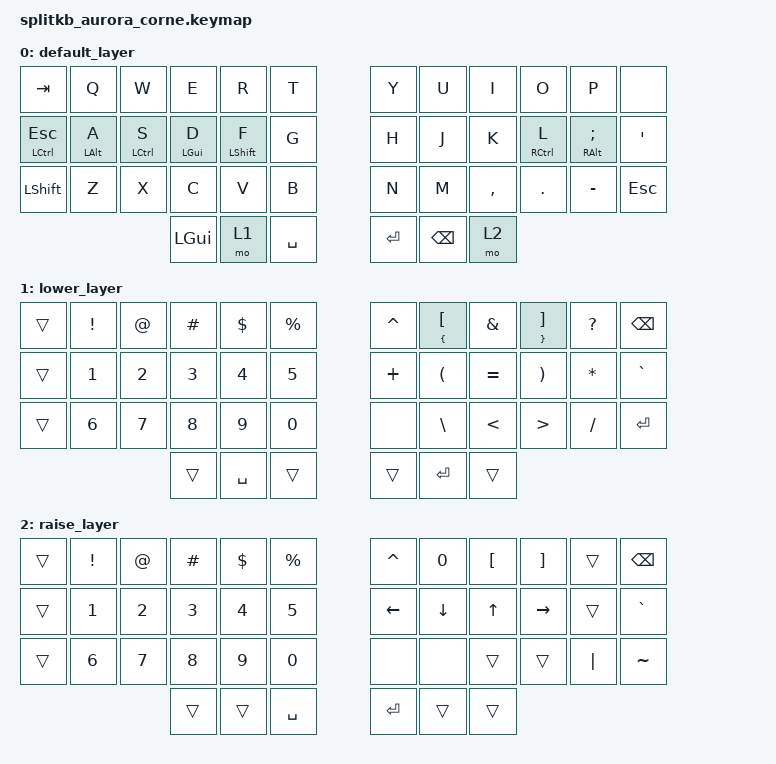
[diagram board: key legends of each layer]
/*
 * Copyright (c) 2020 The ZMK Contributors
 *
 * SPDX-License-Identifier: MIT
 */

#include <behaviors.dtsi>
#include <dt-bindings/zmk/keys.h>

/ {
    behaviors {
        homerow_mods_left: homerow_mods_left {
            compatible = "zmk,behavior-hold-tap";
            label = "HOMEROW_MODS_LEFT";
            bindings =
                <&kp>,
                <&kp>;

            #binding-cells = <2>;
            tapping-term-ms = <200>;
            flavor = "balanced";
            hold-trigger-key-positions = <6 7 8 9 10 11 18 19 20 21 22 23 30 31 32 33 34 35 39 40 41>;
            quick-tap-ms = <100>;
            hold-trigger-on-release;
            global-quick-tap;
        };
        hrm_right: hrm_right {
            compatible = "zmk,behavior-hold-tap";
            label = "HRM_RIGHT";
            bindings =
                <&kp>,
                <&kp>;

            #binding-cells = <2>;
            tapping-term-ms = <200>;
            quick-tap-ms = <100>;
            global-quick-tap;
            flavor = "balanced";
            hold-trigger-on-release;
            hold-trigger-key-positions = <0 1 2 3 4 5 12 13 14 15 16 17 24 25 26 27 28 29 36 37 38>;
        };
    };

    combos {
        compatible = "zmk,combos";

        tab_combo {
            bindings = <&kp TAB>;
            key-positions = <15 16>;
        };
    };

    keymap {
        compatible = "zmk,keymap";

        default_layer {
            // -----------------------------------------------------------------------------------------
            // |  TAB |  Q  |  W  |  E  |  R  |  T  |   |  Y  |  U   |  I  |  O  |  P  | BKSP |
            // | CTRL |  A  |  S  |  D  |  F  |  G  |   |  H  |  J   |  K  |  L  |  ;  |  '   |
            //   ESC
            // | SHFT |  Z  |  X  |  C  |  V  |  B  |   |  N  |  M   |  ,  |  .  |  /  | ESC  |
            //                    | GUI | SPC | LWR |   | RSE | ENT  | ALT |

            bindings = <
      &kp TAB                          &kp Q                              &kp W                          &kp E                            &kp R      &kp T        &kp Y          &kp U      &kp I                       &kp O                           &kp P    &none
&mt LCTRL ESC  &homerow_mods_left LEFT_ALT A  &homerow_mods_left LEFT_CONTROL S  &homerow_mods_left LEFT_GUI D  &homerow_mods_left LEFT_SHIFT F      &kp G        &kp H          &kp J      &kp K  &hrm_right RIGHT_CONTROL L  &hrm_right RIGHT_ALT SEMICOLON  &kp SQT
    &kp LSHFT                          &kp Z                              &kp X                          &kp C                            &kp V      &kp B        &kp N          &kp M  &kp COMMA                     &kp DOT                       &kp MINUS  &kp ESC
                                                                                                      &kp LGUI                            &mo 1  &kp SPACE    &kp ENTER  &kp BACKSPACE      &mo 2
            >;
        };

        lower_layer {
            // -----------------------------------------------------------------------------------------
            // |  TAB |  1  |  2  |  3  |  4  |  5  |   |  6  |  7  |  8  |  9  |  0  | BKSP |
            // | BTCLR| BT1 | BT2 | BT3 | BT4 | BT5 |   | LFT | DWN |  UP | RGT |     |      |
            // | SHFT |     |     |     |     |     |   |     |     |     |     |     |      |
            //                    | GUI |     | SPC |   | ENT |     | ALT |

            bindings = <
&trans  &kp EXCLAMATION        &kp AT     &kp POUND    &kp DOLLAR   &kp PERCENT    &kp CARET  &mt LEFT_BRACE LEFT_BRACKET  &kp AMPERSAND  &mt RIGHT_BRACE RIGHT_BRACKET  &kp QUESTION   &kp BSPC
&trans     &kp NUMBER_1  &kp NUMBER_2  &kp NUMBER_3  &kp NUMBER_4  &kp NUMBER_5     &kp PLUS         &kp LEFT_PARENTHESIS      &kp EQUAL          &kp RIGHT_PARENTHESIS  &kp ASTERISK  &kp GRAVE
&trans     &kp NUMBER_6  &kp NUMBER_7  &kp NUMBER_8  &kp NUMBER_9  &kp NUMBER_0        &none                &kp BACKSLASH  &kp LESS_THAN               &kp GREATER_THAN     &kp SLASH  &kp ENTER
                                             &trans     &kp SPACE        &trans       &trans                      &kp RET         &trans
            >;
        };

        raise_layer {
            // -----------------------------------------------------------------------------------------
            // |  TAB |  !  |  @  |  #  |  $  |  %  |   |  ^  |  &  |  *  |  (  |  )  | BKSP |
            // | CTRL |     |     |     |     |     |   |  -  |  =  |  [  |  ]  |  \  |  `   |
            //   ESC
            // | SHFT |     |     |     |     |     |   |  _  |  +  |  {  |  }  | "|" |  ~   |
            //                    | GUI |     | SPC |   | ENT |     | ALT |

            bindings = <
&trans      &kp EXCL        &kp AT      &kp HASH      &kp DLLR     &kp PRCNT         &kp CARET  &kp NUMBER_0  &kp LEFT_BRACKET  &kp RIGHT_BRACKET    &trans   &kp BSPC
&trans  &kp NUMBER_1  &kp NUMBER_2  &kp NUMBER_3  &kp NUMBER_4  &kp NUMBER_5    &kp LEFT_ARROW      &kp DOWN      &kp UP_ARROW          &kp RIGHT    &trans  &kp GRAVE
&trans  &kp NUMBER_6  &kp NUMBER_7  &kp NUMBER_8  &kp NUMBER_9  &kp NUMBER_0             &none         &none            &trans             &trans  &kp PIPE  &kp TILDE
                                          &trans        &trans     &kp SPACE           &kp RET        &trans            &trans
            >;
        };
    };
};
